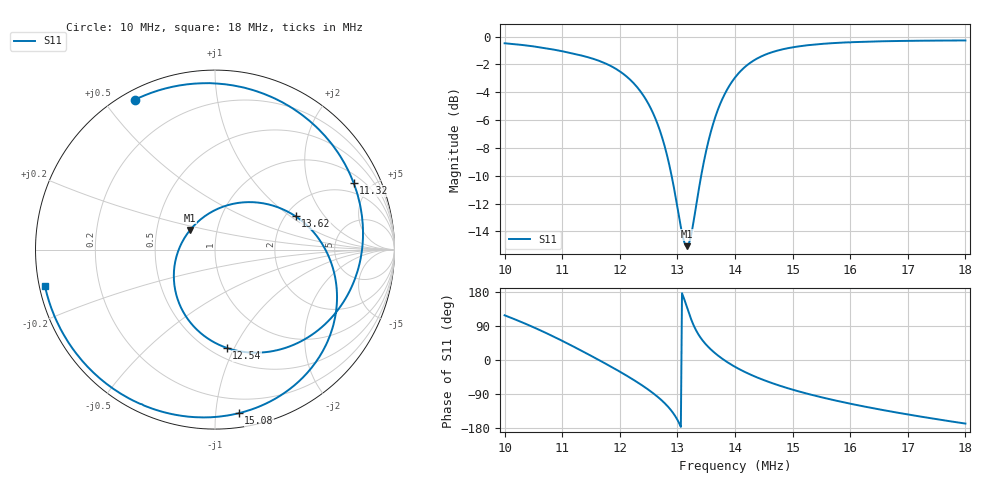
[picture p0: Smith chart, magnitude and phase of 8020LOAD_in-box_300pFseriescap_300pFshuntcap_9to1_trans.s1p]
!File created by NanoVNA
# Hz S RI R 50
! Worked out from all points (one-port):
!   401 points, 10 MHz to 18 MHz, reference 50 ohm
!   lowest |S11| = -15.1 dB at 13.16 MHz (marker M1), VSWR 1.43, Z = 37 + j8.3 ohm
!   |S11| at or under -10 dB: 12.9 MHz to 13.41 MHz (513.5 kHz wide, 3.9 % of centre)
!   S11 on the Smith chart (normalised r, x): 10 MHz: 0.04, +0.60; 11.32 MHz: 1.40, +3.92; 12.54 MHz: 0.59, -0.93; 13.62 MHz: 2.26, +1.10; 15.08 MHz: 0.10, -1.15; 18 MHz: 0.02, -0.11
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1e7  -0.4438 0.8362
1.028e7  -0.1773 0.9178
1.052e7  0.0774 0.9182
1.076e7  0.3338 0.8416
1.1e7  0.5627 0.6848
1.132e7  0.7727 0.3708
1.166e7  0.8152 -0.0277
1.2e7  0.645 -0.3836
1.228e7  0.3694 -0.5545
1.254e7  0.0649 -0.5474
1.28e7  -0.1776 -0.346
1.3e7  -0.2258 -0.0919
1.316e7  -0.1392 0.1087
1.324e7  -0.0567 0.1862
1.338e7  0.1273 0.2598
1.35e7  0.2967 0.2521
1.362e7  0.4489 0.1855
1.38e7  0.609 0.0114
1.4e7  0.6781 -0.22
1.422e7  0.6486 -0.4561
1.448e7  0.5274 -0.6713
1.474e7  0.3631 -0.8142
1.5e7  0.1864 -0.8963
1.508e7  0.1325 -0.9116
1.55e7  -0.136 -0.9318
1.6e7  -0.4066 -0.8618
1.7e7  -0.7782 -0.5722
1.8e7  -0.9471 -0.2053
